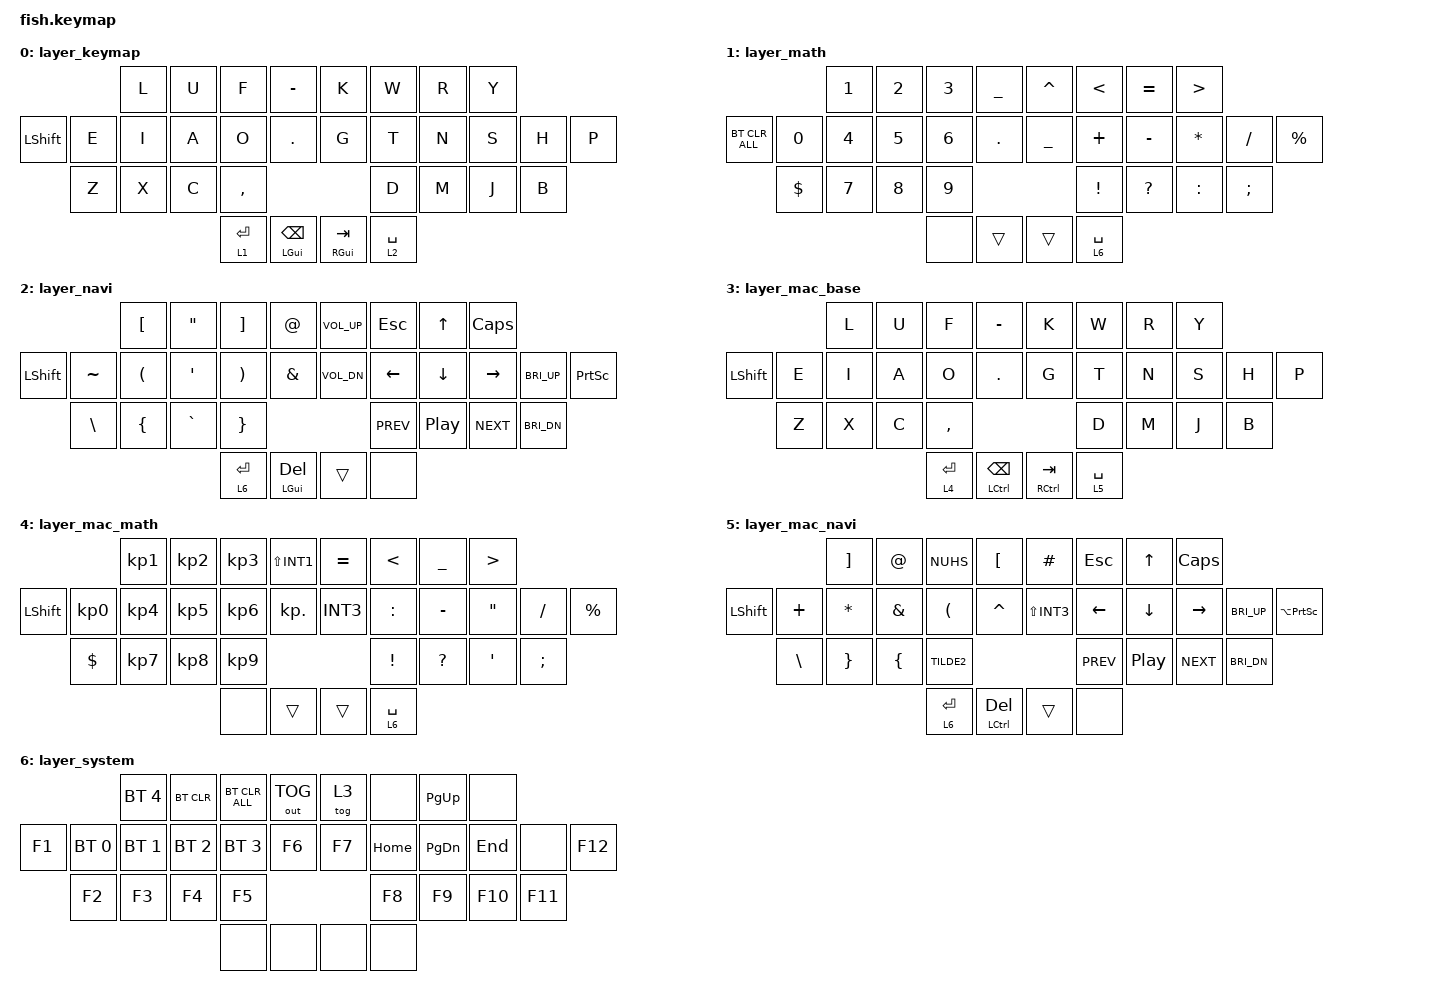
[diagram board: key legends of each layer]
// キーマップを更新する方法は https://o24.works/fish/guide を参照
// 視覚的に編集するには https://o24.works/fish/editor を参照


// 定義を呼んでくる
#include <behaviors.dtsi>
#include <dt-bindings/zmk/keys.h>
#include <dt-bindings/zmk/mouse.h>
#include <dt-bindings/zmk/bt.h>
#include <dt-bindings/zmk/outputs.h>
#include <dt-bindings/zmk/pointing.h>


// 特殊入力の挙動を調整できる

&mt {
    flavor = "tap-preferred";
    tapping-term-ms = <225>;
    quick-tap-ms = <200>;
    require-prior-idle-ms = <150>;
};

&lt {
    flavor = "balanced";
    quick-tap-ms = <200>;
};

&sk {
};

&sl {
};

&caps_word {
};

&key_repeat {
};


/ {
    // 独自の入力を定義できる（上級者向け）

    behaviors {
    };

    macros {
    };

    conditional_layers {
    };


    // 複数キーの同時押しに特別の入力を設定できる
    // キー番号早見表：
    //       0  1  2  3     4  5  6  7
    // 8  9 10 11 12 13    14 15 16 17 18 19
    //   20 21 22 23          24 25 26 27
    //            28 29    30 31

    combos {
        compatible = "zmk,combos";
        timeout-ms = <150>;
        require-prior-idle-ms = <150>;

        combo_lang2 {
            key-positions = <21 22>;
            bindings = <&kp LANG2>;
        };

        combo_lang1 {
            key-positions = <25 26>;
            bindings = <&kp LANG1>;
        };

        combo_lalt {
            key-positions = <10 11>;
            bindings = <&kp LALT>;
        };

        combo_ralt {
            key-positions = <16 17>;
            bindings = <&kp RALT>;
        };

        combo_p {
            key-positions = <3 13>;
            bindings = <&kp P>;
        };

        combo_v {
            key-positions = <22 23>;
            bindings = <&kp V>;
        };

        combo_q {
            key-positions = <0 1>;
            bindings = <&kp Q>;
        };

        combo_lctrl {
            key-positions = <3 13>;
            bindings = <&kp LCTRL>;
        };

        combo_rctrl {
            key-positions = <4 14>;
            bindings = <&kp RCTRL>;
        };

        combo_grave {
            key-positions = <1 2>;
            bindings = <&kp GRAVE>;
        };
    };
    

    // キーに入力を割り当てる
    // 型（&...）は https://zmk.dev/docs/behaviors/... を参照
    // キーコードは https://zmk.dev/docs/codes/... を参照

    keymap {
        compatible = "zmk,keymap";

        layer_keymap {
            bindings = <
                        &kp L       &kp U       &kp F       &kp MINUS           &kp K       &kp W       &kp R       &kp Y       
&kp LSHFT   &kp E       &kp I       &kp A       &kp O       &kp DOT             &kp G       &kp T       &kp N       &kp S       &kp H       &kp P       
            &kp Z       &kp X       &kp C       &kp COMMA                                   &kp D       &kp M       &kp J       &kp B       
                                                &lt 1 RET   &mt LGUI BSPC       &mt RGUI TAB &lt 2 SPACE 
            >;
        };

        layer_math {
            bindings = <
                        &kp N1      &kp N2      &kp N3      &kp UNDER           &kp CARET   &kp LT      &kp EQUAL   &kp GT      
&bt BT_CLR_ALL &kp N0   &kp N4      &kp N5      &kp N6      &kp DOT             &kp UNDER   &kp PLUS    &kp MINUS   &kp STAR    &kp FSLH    &kp PRCNT   
            &kp DLLR    &kp N7      &kp N8      &kp N9                                      &kp EXCL    &kp QMARK   &kp COLON   &kp SEMI    
                                                &none       &trans              &trans      &lt 6 SPACE 
            >;
        };

        layer_navi {
            bindings = <
                        &kp LBKT    &kp DQT     &kp RBKT    &kp AT              &kp C_VOL_UP &kp ESC    &kp UP      &kp CAPS    
&kp LSHFT   &kp TILDE   &kp LPAR    &kp SQT     &kp RPAR    &kp AMPS            &kp C_VOL_DN &kp LEFT   &kp DOWN    &kp RIGHT   &kp C_BRI_UP &kp PSCRN  
            &kp BSLH    &kp LBRC    &kp GRAVE   &kp RBRC                                    &kp C_PREV  &kp C_PP    &kp C_NEXT  &kp C_BRI_DN 
                                                &lt 6 RET   &mt LGUI DEL        &trans      &none       
            >;
        };

        layer_mac_base {
            bindings = <
                        &kp L       &kp U       &kp F       &kp MINUS           &kp K       &kp W       &kp R       &kp Y       
&kp LSHFT   &kp E       &kp I       &kp A       &kp O       &kp DOT             &kp G       &kp T       &kp N       &kp S       &kp H       &kp P       
            &kp Z       &kp X       &kp C       &kp COMMA                                   &kp D       &kp M       &kp J       &kp B       
                                                &lt 4 RET   &mt LCTRL BSPC      &mt RCTRL TAB &lt 5 SPACE 
            >;
        };

        layer_mac_math {
            bindings = <
                        &kp KP_N1   &kp KP_N2   &kp KP_N3   &kp LS(INT1)        &kp EQUAL   &kp LT      &kp UNDER   &kp GT      
&kp LSHFT   &kp KP_N0   &kp KP_N4   &kp KP_N5   &kp KP_N6   &kp KP_DOT          &kp INT3    &kp COLON   &kp MINUS   &kp DQT     &kp FSLH    &kp PRCNT   
            &kp DLLR    &kp KP_N7   &kp KP_N8   &kp KP_N9                                   &kp EXCL    &kp QMARK   &kp SQT     &kp SEMI    
                                                &none       &trans              &trans      &lt 6 SPACE 
            >;
        };

        layer_mac_navi {
            bindings = <
                        &kp RBKT    &kp AT      &kp NUHS    &kp LBKT            &kp HASH    &kp ESC     &kp UP      &kp CAPS    
&kp LSHFT   &kp PLUS    &kp STAR    &kp AMPS    &kp LPAR    &kp CARET           &kp LS(INT3) &kp LEFT   &kp DOWN    &kp RIGHT   &kp C_BRI_UP &kp LA(PSCRN) 
            &kp BSLH    &kp RBRC    &kp LBRC    &kp TILDE2                                  &kp C_PREV  &kp C_PP    &kp C_NEXT  &kp C_BRI_DN 
                                                &lt 6 RET   &mt LCTRL DEL       &trans      &none       
            >;
        };

        layer_system {
            bindings = <
                        &bt BT_SEL 4 &bt BT_CLR &bt BT_CLR_ALL &out OUT_TOG     &tog 3      &none       &kp PG_UP   &none       
&kp F1      &bt BT_SEL 0 &bt BT_SEL 1 &bt BT_SEL 2 &bt BT_SEL 3 &kp F6          &kp F7      &kp HOME    &kp PG_DN   &kp END     &none       &kp F12     
            &kp F2      &kp F3      &kp F4      &kp F5                                      &kp F8      &kp F9      &kp F10     &kp F11     
                                                &none       &none               &none       &none       
            >;
        };
    };
};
